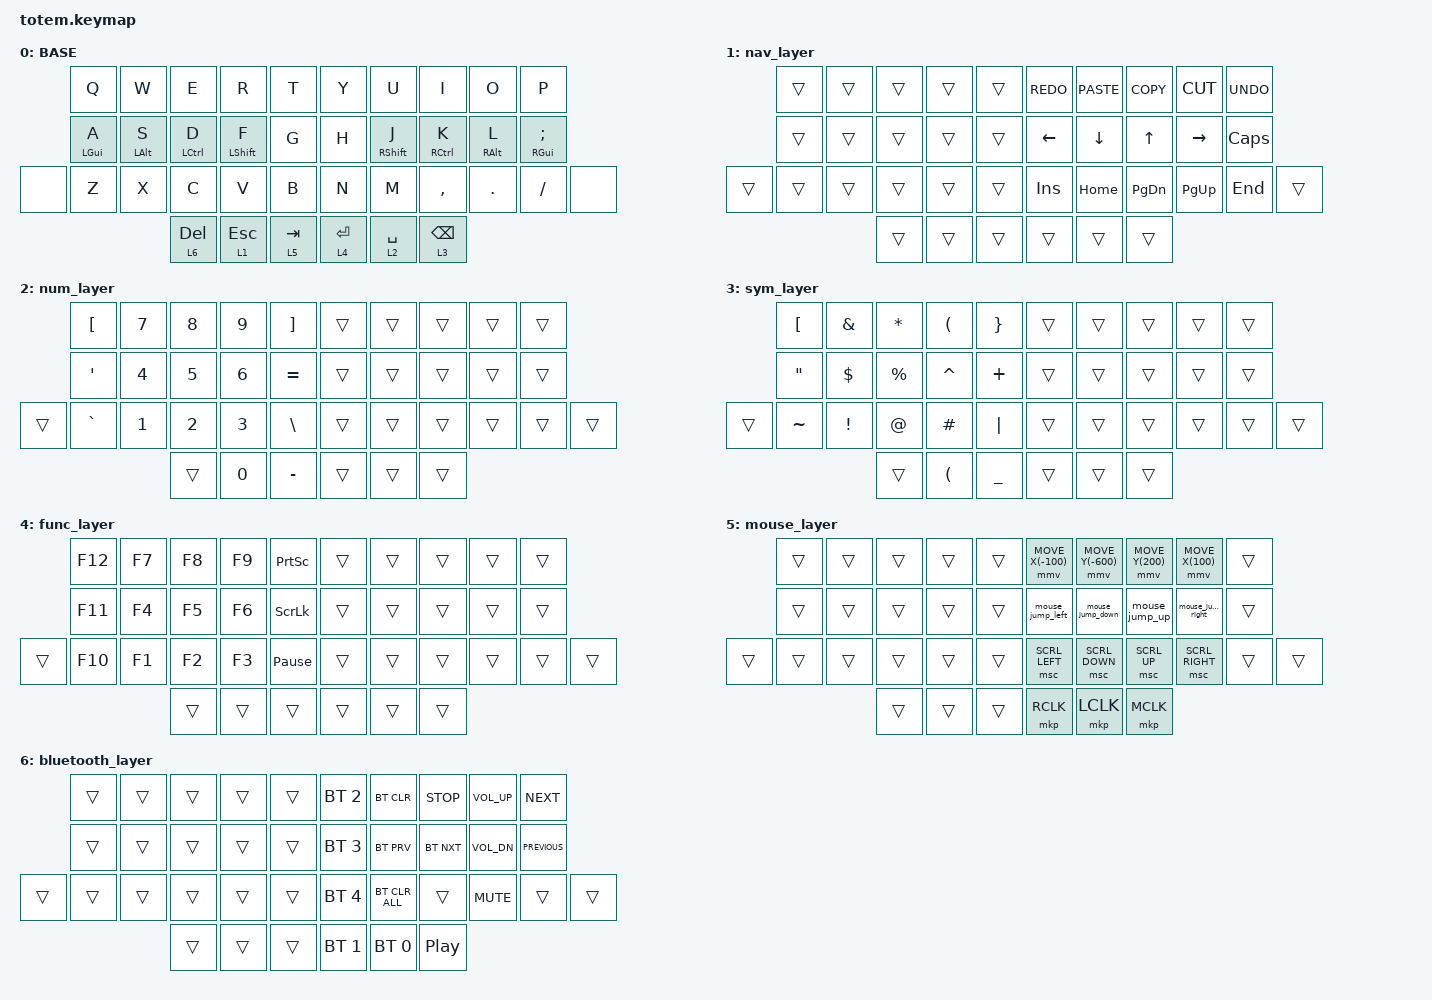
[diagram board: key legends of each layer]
//
//                                                        ▀▀▀▀▀     ▀▀▀▀▀          ▀▀█▀▀
//                                                        ▄▀▀▀▄  ▄  ▄▀▀▀▄  ▄  ▄▀▀▀▄  █  ▄▀▀▀▄
//                                                        █   █  █  █   █  █  █   █  █  █   █
//                                                         ▀▀▀   █   ▀▀▀   █   ▀▀▀   ▀   ▀▀▀
//                                                               █      ▄▄▄█▄▄▄    █   █  
//                                                               ▀      █  █  █     █▄█
//                                                             ▀▀▀▀▀    █  █  █      ▀
//                                                                      ▀  ▀  ▀
//
// ▄▄▄▄▄▄▄▄▄▄▄▄▄▄▄▄▄▄▄▄▄▄▄▄▄▄▄▄▄▄▄▄▄▄▄▄▄▄▄▄▄▄▄▄▄▄▄▄▄▄▄▄▄▄▄▄▄▄▄▄▄▄▄▄▄▄▄▄▄▄▄▄▄▄▄▄▄▄▄▄▄▄▄▄▄▄▄▄▄▄▄▄▄▄▄▄▄▄▄▄▄▄▄▄▄▄▄▄▄▄▄▄▄▄▄▄▄▄▄▄▄▄▄▄▄▄▄▄▄▄▄▄▄▄▄▄▄▄▄▄▄▄▄▄▄▄▄▄▄

#include <behaviors.dtsi>
#include <dt-bindings/zmk/bt.h>
#include <dt-bindings/zmk/keys.h>
#include <dt-bindings/zmk/pointing.h>

#define BASE 0
#define NAV  1
#define SYM  2
#define ADJ  3
#define TVP1 4
#define TVP2 5

&mt {
    quick-tap-ms = <100>;
    global-quick-tap;
    flavor = "tap-preferred";
    tapping-term-ms = <170>;
};

/ {
    combos {
        compatible = "zmk,combos";

        hypen {
            timeout-ms = <50>;
            key-positions = <13 12>;
            bindings = <&kp MINUS>;
        };

        underscore {
            bindings = <&kp UNDER>;
            key-positions = <12 11>;
            timeout-ms = <50>;
        };
    };

    macros {
        gif: gif {
            label = "giphy";
            compatible = "zmk,behavior-macro";
            #binding-cells = <0>;
            bindings =
                <&macro_press>,
                <&kp LSHFT>,
                <&macro_tap>,
                <&kp N2>,
                <&macro_release>,
                <&kp LSHFT>,
                <&macro_tap>,
                <&kp G &kp I &kp F>;
        };
    };

    behaviors {
        mouse_jump_up: mouse_jump_up {
            compatible = "zmk,behavior-mod-morph";
            label = "MOUSE_JUMP_UP";
            bindings = <&mmv MOVE_UP>, <&mmv MOVE_Y(-200)>;

            #binding-cells = <0>;
            mods = <(MOD_LSFT|MOD_RSFT)>;
        };

        mouse_jump_down: mouse_jump_down {
            compatible = "zmk,behavior-mod-morph";
            label = "MOUSE_JUMP_DOWN";
            bindings = <&mmv MOVE_DOWN>, <&mmv MOVE_Y(400)>;

            #binding-cells = <0>;
            mods = <(MOD_LCTL|MOD_RCTL)>;
        };

        mouse_jump_left: mouse_jump_left {
            compatible = "zmk,behavior-mod-morph";
            label = "MOUSE_JUMP_LEFT";
            bindings = <&mmv MOVE_LEFT>, <&mmv MOVE_X(-300)>;

            #binding-cells = <0>;
            mods = <(MOD_LCTL|MOD_RCTL)>;
        };

        mouse_jump_right: mouse_jump_right {
            compatible = "zmk,behavior-mod-morph";
            label = "MOUSE_JUMP_RIGHT";
            bindings = <&mmv MOVE_RIGHT>, <&mmv MOVE_X(400)>;

            #binding-cells = <0>;
            mods = <(MOD_LCTL|MOD_RCTL)>;
        };
    };

    keymap {
        compatible = "zmk,keymap";

        // ▄▄▄▄▄▄▄▄▄▄▄▄▄▄▄▄▄▄▄▄▄▄▄▄▄▄▄▄▄▄▄▄▄▄▄▄▄▄▄▄▄▄▄▄▄▄▄▄▄▄▄▄▄▄▄▄▄▄▄▄▄▄▄▄▄▄▄▄▄▄▄▄▄▄▄▄▄▄▄▄▄▄▄▄▄▄▄▄▄▄▄▄▄▄▄▄▄▄▄▄▄▄▄▄▄▄▄▄▄▄▄▄▄▄▄▄▄▄▄▄▄▄▄▄▄▄▄▄▄▄▄▄▄▄▄▄▄▄▄▄▄▄▄▄▄▄▄▄▄

        base_layer {
            // ┏━━━━━━━━━━━━━━━━━━━━━━━━━━━━━━━━━━━━━━━┓

            label = "BASE";

            // ┗━━━━━━━━━━━━━━━━━━━━━━━━━━━━━━━━━━━━━━━┛
            //             ┏━━━━━━━━━━━┳━━━━━━━━━━━┳━━━━━━━━━━━┳━━━━━━━━━━━┳━━━━━━━━━━━┓   ┏━━━━━━━━━━━┳━━━━━━━━━━━┳━━━━━━━━━━━┳━━━━━━━━━━━┳━━━━━━━━━━━┓
            //             ┃     Q     ┃     W     ┃     F     ┃     P     ┃     G     ┃   ┃     J     ┃     L     ┃     U     ┃     Y     ┃     ;     ┃
            //             ┣━━━━━━━━━━━╋━━━━━━━━━━━╋━━━━━━━━━━━╋━━━━━━━━━━━╋━━━━━━━━━━━┫   ┣━━━━━━━━━━━╋━━━━━━━━━━━╋━━━━━━━━━━━╋━━━━━━━━━━━╋━━━━━━━━━━━┫
            //             ┃     A     ┃     R     ┃     S     ┃     T     ┃     D     ┃   ┃     H     ┃     N     ┃     E     ┃     I     ┃     O     ┃
            // ┏━━━━━━━━━━━╋━━━━━━━━━━━╋━━━━━━━━━━━╋━━━━━━━━━━━╋━━━━━━━━━━━╋━━━━━━━━━━━┫   ┣━━━━━━━━━━━╋━━━━━━━━━━━╋━━━━━━━━━━━╋━━━━━━━━━━━╋━━━━━━━━━━━╋━━━━━━━━━━━┓
            // ┃     Q     ┃     Z     ┃     X     ┃     C     ┃     V     ┃     B     ┃   ┃     K     ┃     M     ┃     ,     ┃     .     ┃     /     ┃     \     ┃
            // ┗━━━━━━━━━━━┻━━━━━━━━━━━┻━━━━━━━━━━━╋━━━━━━━━━━━╋━━━━━━━━━━━╋━━━━━━━━━━━┫   ┣━━━━━━━━━━━╋━━━━━━━━━━━╋━━━━━━━━━━━╋━━━━━━━━━━━┻━━━━━━━━━━━┻━━━━━━━━━━━┛
            //                                     ┃    DEL    ┃    TAB    ┃    SPC    ┃   ┃   ENTER   ┃           ┃   BSPC    ┃
            //                                     ┗━━━━━━━━━━━┻━━━━━━━━━━━┻━━━━━━━━━━━┛   ┗━━━━━━━━━━━┻━━━━━━━━━━━┻━━━━━━━━━━━┛

            bindings = <
       &kp Q       &kp W       &kp E         &kp R        &kp T        &kp Y      &kp U        &kp I            &kp O       &kp P
       &mt LGUI A  &mt LALT S  &mt LCTRL D   &mt LSHFT F  &kp G        &kp H      &mt RSHFT J  &mt RCTRL K      &mt RALT L  &mt RGUI SEMICOLON
&none  &kp Z       &kp X       &kp C         &kp V        &kp B        &kp N      &kp M        &kp COMMA        &kp DOT     &kp FSLH            &none
                               &lt 6 DELETE  &lt 1 ESC    &lt 5 TAB    &lt 4 RET  &lt 2 SPACE  &lt 3 BACKSPACE
            >;
        };

        // ▄▄▄▄▄▄▄▄▄▄▄▄▄▄▄▄▄▄▄▄▄▄▄▄▄▄▄▄▄▄▄▄▄▄▄▄▄▄▄▄▄▄▄▄▄▄▄▄▄▄▄▄▄▄▄▄▄▄▄▄▄▄▄▄▄▄▄▄▄▄▄▄▄▄▄▄▄▄▄▄▄▄▄▄▄▄▄▄▄▄▄▄▄▄▄▄▄▄▄▄▄▄▄▄▄▄▄▄▄▄▄▄▄▄▄▄▄▄▄▄▄▄▄▄▄▄▄▄▄▄▄▄▄▄▄▄▄▄▄▄▄▄▄▄▄▄▄▄▄
        // ▄▄▄▄▄▄▄▄▄▄▄▄▄▄▄▄▄▄▄▄▄▄▄▄▄▄▄▄▄▄▄▄▄▄▄▄▄▄▄▄▄▄▄▄▄▄▄▄▄▄▄▄▄▄▄▄▄▄▄▄▄▄▄▄▄▄▄▄▄▄▄▄▄▄▄▄▄▄▄▄▄▄▄▄▄▄▄▄▄▄▄▄▄▄▄▄▄▄▄▄▄▄▄▄▄▄▄▄▄▄▄▄▄▄▄▄▄▄▄▄▄▄▄▄▄▄▄▄▄▄▄▄▄▄▄▄▄▄▄▄▄▄▄▄▄▄▄▄▄
        // ▄▄▄▄▄▄▄▄▄▄▄▄▄▄▄▄▄▄▄▄▄▄▄▄▄▄▄▄▄▄▄▄▄▄▄▄▄▄▄▄▄▄▄▄▄▄▄▄▄▄▄▄▄▄▄▄▄▄▄▄▄▄▄▄▄▄▄▄▄▄▄▄▄▄▄▄▄▄▄▄▄▄▄▄▄▄▄▄▄▄▄▄▄▄▄▄▄▄▄▄▄▄▄▄▄▄▄▄▄▄▄▄▄▄▄▄▄▄▄▄▄▄▄▄▄▄▄▄▄▄▄▄▄▄▄▄▄▄▄▄▄▄▄▄▄▄▄▄▄
        // ▄▄▄▄▄▄▄▄▄▄▄▄▄▄▄▄▄▄▄▄▄▄▄▄▄▄▄▄▄▄▄▄▄▄▄▄▄▄▄▄▄▄▄▄▄▄▄▄▄▄▄▄▄▄▄▄▄▄▄▄▄▄▄▄▄▄▄▄▄▄▄▄▄▄▄▄▄▄▄▄▄▄▄▄▄▄▄▄▄▄▄▄▄▄▄▄▄▄▄▄▄▄▄▄▄▄▄▄▄▄▄▄▄▄▄▄▄▄▄▄▄▄▄▄▄▄▄▄▄▄▄▄▄▄▄▄▄▄▄▄▄▄▄▄▄▄▄▄▄
        // ▄▄▄▄▄▄▄▄▄▄▄▄▄▄▄▄▄▄▄▄▄▄▄▄▄▄▄▄▄▄▄▄▄▄▄▄▄▄▄▄▄▄▄▄▄▄▄▄▄▄▄▄▄▄▄▄▄▄▄▄▄▄▄▄▄▄▄▄▄▄▄▄▄▄▄▄▄▄▄▄▄▄▄▄▄▄▄▄▄▄▄▄▄▄▄▄▄▄▄▄▄▄▄▄▄▄▄▄▄▄▄▄▄▄▄▄▄▄▄▄▄▄▄▄▄▄▄▄▄▄▄▄▄▄▄▄▄▄▄▄▄▄▄▄▄▄▄▄▄

        nav_layer {
            bindings = <
        &trans  &trans  &trans  &trans  &trans    &kp K_REDO      &kp K_PASTE     &kp K_COPY     &kp K_CUT        &kp K_UNDO
        &trans  &trans  &trans  &trans  &trans    &kp LEFT_ARROW  &kp DOWN_ARROW  &kp UP_ARROW   &kp RIGHT_ARROW  &kp CAPSLOCK
&trans  &trans  &trans  &trans  &trans  &trans    &kp INSERT      &kp HOME        &kp PAGE_DOWN  &kp PAGE_UP      &kp END       &trans
                        &trans  &trans  &trans    &trans          &trans          &trans
            >;
        };

        num_layer {
            bindings = <
        &kp LBKT   &kp N7  &kp N8  &kp N9  &kp RBKT     &trans  &trans  &trans  &trans  &trans
        &kp APOS   &kp N4  &kp N5  &kp N6  &kp EQUAL    &trans  &trans  &trans  &trans  &trans
&trans  &kp GRAVE  &kp N1  &kp N2  &kp N3  &kp BSLH     &trans  &trans  &trans  &trans  &trans  &trans
                           &trans  &kp N0  &kp MINUS    &trans  &trans  &trans
            >;
        };

        sym_layer {
            bindings = <
        &kp LEFT_BRACKET   &kp AMPS    &kp STAR     &kp LEFT_PARENTHESIS  &kp RIGHT_BRACE    &trans  &trans  &trans  &trans  &trans
        &kp DOUBLE_QUOTES  &kp DOLLAR  &kp PERCENT  &kp CARET             &kp PLUS           &trans  &trans  &trans  &trans  &trans
&trans  &kp TILDE          &kp EXCL    &kp AT       &kp HASH              &kp PIPE           &trans  &trans  &trans  &trans  &trans  &trans
                                       &trans       &kp LEFT_PARENTHESIS  &kp UNDER          &trans  &trans  &trans
            >;
        };

        func_layer {
            bindings = <
        &kp F12  &kp F7  &kp F8  &kp F9  &kp PRINTSCREEN    &trans  &trans  &trans  &trans  &trans
        &kp F11  &kp F4  &kp F5  &kp F6  &kp SCROLLLOCK     &trans  &trans  &trans  &trans  &trans
&trans  &kp F10  &kp F1  &kp F2  &kp F3  &kp PAUSE_BREAK    &trans  &trans  &trans  &trans  &trans  &trans
                         &trans  &trans  &trans             &trans  &trans  &trans
            >;
        };

        mouse_layer {
            bindings = <
        &trans  &trans  &trans  &trans  &trans    &mmv MOVE_X(-100)  &mmv MOVE_Y(-600)  &mmv MOVE_Y(200)  &mmv MOVE_X(100)   &trans
        &trans  &trans  &trans  &trans  &trans    &mouse_jump_left   &mouse_jump_down   &mouse_jump_up    &mouse_jump_right  &trans
&trans  &trans  &trans  &trans  &trans  &trans    &msc SCRL_LEFT     &msc SCRL_DOWN     &msc SCRL_UP      &msc SCRL_RIGHT    &trans  &trans
                        &trans  &trans  &trans    &mkp RCLK          &mkp LCLK          &mkp MCLK
            >;
        };

        bluetooth_layer {
            bindings = <
        &trans  &trans  &trans  &trans  &trans    &bt BT_SEL 2  &bt BT_CLR      &kp C_STOP        &kp C_VOLUME_UP  &kp C_NEXT
        &trans  &trans  &trans  &trans  &trans    &bt BT_SEL 3  &bt BT_PRV      &bt BT_NXT        &kp C_VOL_DN     &kp C_PREVIOUS
&trans  &trans  &trans  &trans  &trans  &trans    &bt BT_SEL 4  &bt BT_CLR_ALL  &trans            &kp C_MUTE       &trans          &trans
                        &trans  &trans  &trans    &bt BT_SEL 1  &bt BT_SEL 0    &kp C_PLAY_PAUSE
            >;
        };
    };
};
